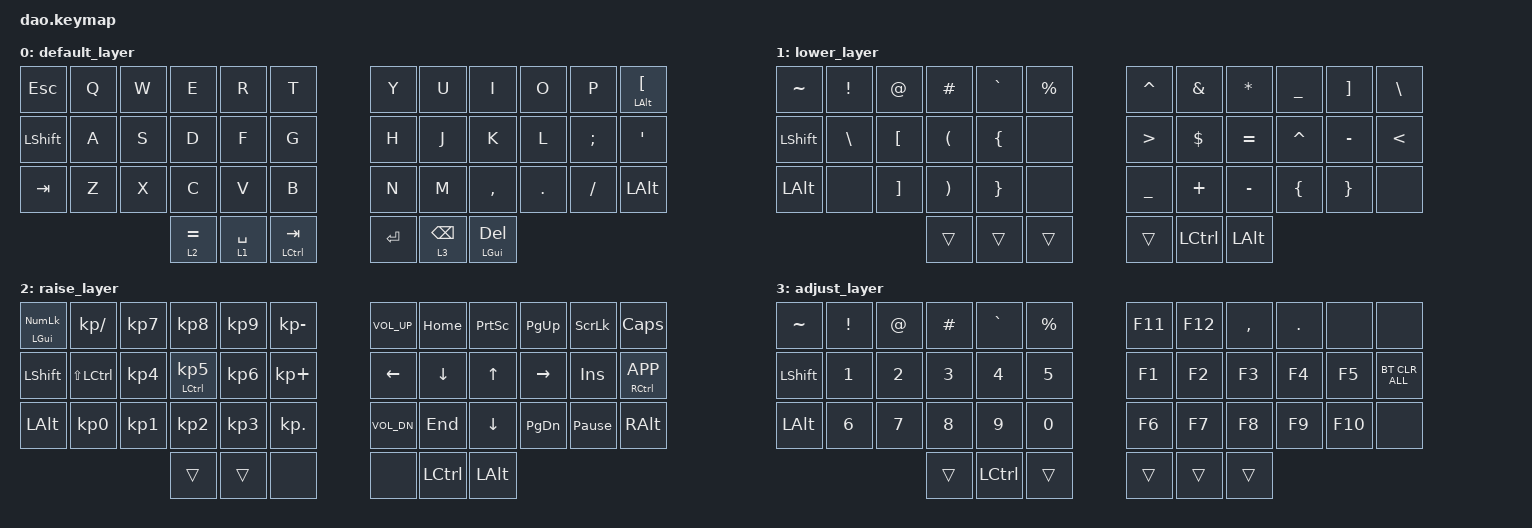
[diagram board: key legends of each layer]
/*
 * Copyright (c) 2021 Rafael Yumagulov
 *
 * SPDX-License-Identifier: MIT
 */

#include <behaviors.dtsi>
#include <dt-bindings/zmk/keys.h>
#include <dt-bindings/zmk/bt.h>

#define DEF 0
#define LWR 1
#define RSE 2
#define ADJ 3

&lt { quick_tap_ms = <200>; };
&mt { quick_tap_ms = <200>; };

/ {
    chosen {
        zmk,physical_layout = &dao_crkbd_layout;
        // zmk,physical_layout = &dao_full_layout;
    };
};

#include <behaviors.dtsi>
#include <dt-bindings/zmk/bt.h>
#include <dt-bindings/zmk/keys.h>

/ {
    combos {
        compatible = "zmk,combos";

        shift_alt_io {
            bindings = <&kp LS(LEFT_ALT)>;
            key-positions = <8 9>;
        };

        shft_alt {
            bindings = <&kp LS(LEFT_ALT)>;
            key-positions = <35>;
        };
    };

    keymap {
        compatible = "zmk,keymap";

        default_layer {
            bindings = <
  &kp ESC    &kp Q  &kp W  &kp E        &kp R        &kp T            &kp Y    &kp U       &kp I         &kp O    &kp P     &mt LEFT_ALT LEFT_BRACKET
  &kp LSHFT  &kp A  &kp S  &kp D        &kp F        &kp G            &kp H    &kp J       &kp K         &kp L    &kp SEMI  &kp SQT
  &kp TAB    &kp Z  &kp X  &kp C        &kp V        &kp B            &kp N    &kp M       &kp COMMA     &kp DOT  &kp FSLH  &kp LEFT_ALT
                           &lt 2 EQUAL  &lt 1 SPACE  &mt LCTRL TAB    &kp RET  &lt 3 BSPC  &mt LGUI DEL
            >;
        };

        lower_layer {
            bindings = <
  &kp TILDE  &kp EXCLAMATION  &kp AT_SIGN        &kp HASH               &kp GRAVE        &kp PERCENT    &kp CARET         &kp AMPERSAND  &kp ASTERISK  &kp UNDERSCORE  &kp RIGHT_BRACKET  &kp BSLH
  &kp LSHFT  &kp BACKSLASH    &kp LEFT_BRACKET   &kp LEFT_PARENTHESIS   &kp LEFT_BRACE   &none          &kp GREATER_THAN  &kp DOLLAR     &kp EQUAL     &kp CARET       &kp MINUS          &kp LESS_THAN
  &kp LALT   &none            &kp RIGHT_BRACKET  &kp RIGHT_PARENTHESIS  &kp RIGHT_BRACE  &none          &kp UNDERSCORE    &kp PLUS       &kp MINUS     &kp LEFT_BRACE  &kp RIGHT_BRACE    &none
                                                 &trans                 &trans           &trans         &trans            &kp LCTRL      &kp LEFT_ALT
            >;
        };

        raise_layer {
            bindings = <
  &mt LGUI KP_NUM  &kp KP_SLASH   &kp KP_N7  &kp KP_N8        &kp KP_N9  &kp KP_MINUS    &kp C_VOL_UP    &kp HOME        &kp PSCRN     &kp PG_UP  &kp SLCK         &kp CLCK
  &kp LEFT_SHIFT   &kp LS(LCTRL)  &kp KP_N4  &mt LCTRL KP_N5  &kp KP_N6  &kp KP_PLUS     &kp LEFT_ARROW  &kp DOWN_ARROW  &kp UP        &kp RIGHT  &kp INS          &mt RCTRL K_APP
  &kp LALT         &kp KP_N0      &kp KP_N1  &kp KP_N2        &kp KP_N3  &kp KP_DOT      &kp C_VOL_DN    &kp END         &kp DOWN      &kp PG_DN  &kp PAUSE_BREAK  &kp RALT
                                             &trans           &trans     &none           &none           &kp LCTRL       &kp LEFT_ALT
            >;
        };

        adjust_layer {
            bindings = <
  &kp TILDE  &kp EXCLAMATION  &kp AT_SIGN  &kp HASH  &kp GRAVE  &kp PERCENT    &kp F11  &kp F12  &kp COMMA  &kp DOT  &none    &none
  &kp LSHFT  &kp N1           &kp N2       &kp N3    &kp N4     &kp N5         &kp F1   &kp F2   &kp F3     &kp F4   &kp F5   &bt BT_CLR_ALL
  &kp LALT   &kp N6           &kp N7       &kp N8    &kp N9     &kp N0         &kp F6   &kp F7   &kp F8     &kp F9   &kp F10  &none
                                           &trans    &kp LCTRL  &trans         &trans   &trans   &trans
            >;
        };
    };
};
